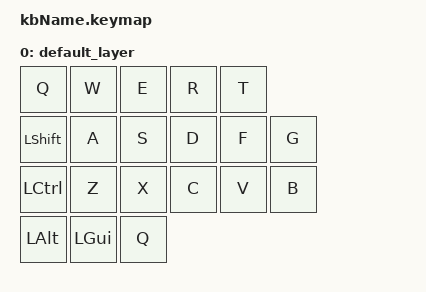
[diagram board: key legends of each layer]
#include <behaviors.dtsi>
#include <dt-bindings/zmk/keys.h>

/ {
    keymap {
        compatible = "zmk,keymap";

        default_layer {
            bindings = <
                &kp Q       &kp W       &kp E       &kp R       &kp T

                &kp LSHIFT &kp A       &kp S       &kp D       &kp F       &kp G

                &kp LCTRL  &kp Z       &kp X       &kp C       &kp V       &kp B

                &kp LALT   &kp LGUI    &kp Q
            >;
        };
    };
};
